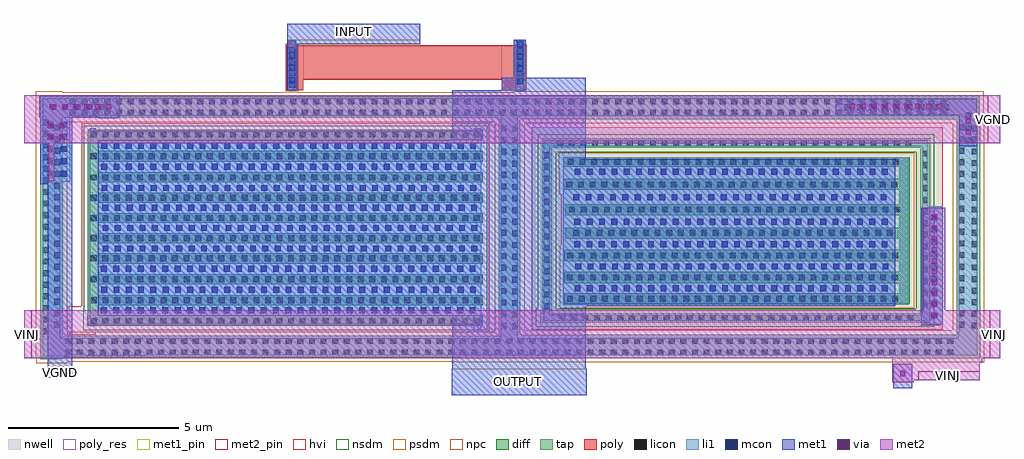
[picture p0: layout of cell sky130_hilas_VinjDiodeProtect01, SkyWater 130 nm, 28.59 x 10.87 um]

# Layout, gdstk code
import gdstk
lib = gdstk.Library(unit=1e-6, precision=1e-09)
def R(c, l, rs):  # rectangles x0, y0, x1, y1
    for r in rs: c.add(gdstk.rectangle(r[:2], r[2:], *l))
def A(c, l, x, y, w, h, nx, ny, dx, dy):  # array of equal rectangles
    R(c, l, [(x+i*dx, y+j*dy, x+i*dx+w, y+j*dy+h) for i in range(nx) for j in range(ny)])
nwell = (64, 20)
diff = (65, 20)
tap = (65, 44)
poly_res = (66, 13)
poly = (66, 20)
licon = (66, 44)
li1 = (67, 20)
mcon = (67, 44)
met1_pin = (68, 16)
met1 = (68, 20)
via = (68, 44)
met2_pin = (69, 16)
met2 = (69, 20)
hvi = (75, 20)
nsdm = (93, 44)
psdm = (94, 20)
npc = (95, 20)

sky130_hilas_vinjdiodepr = lib.new_cell('sky130_hilas_VinjDiodeProtect01')
R(sky130_hilas_vinjdiodepr, nwell, [(7.42,-0.38,19.47,5.56)])
A(sky130_hilas_vinjdiodepr, diff, -5.58, 0.34, 11.57, 0.3, 1, 3, 0, 0.61)
A(sky130_hilas_vinjdiodepr, diff, -5.58, 1.86, 0.31, 0.3, 1, 3, 0, 0.59)
R(sky130_hilas_vinjdiodepr, diff, [(-5.59,-0.26,5.99,0.04), (-5.58,0.04,-5.27,0.34), (8.37,0.38,18.5,0.69), (-5.58,0.64,-5.27,0.95), (18.19,0.69,18.5,0.99), (8.37,0.99,18.5,1.32), (-5.58,1.25,-5.27,1.56), (18.19,1.32,18.5,1.63), (5.68,1.55,5.99,1.56), (8.37,1.63,18.5,1.96), (18.19,1.96,18.5,2.29), (-5.58,2.16,5.99,2.45), (8.41,2.29,18.5,2.61), (18.19,2.61,18.5,2.98), (-5.58,2.75,5.99,3.04), (8.41,2.98,18.5,3.3), (18.19,3.3,18.5,3.72), (-5.58,3.34,5.99,3.64), (-5.58,3.64,-5.27,3.94), (8.36,3.72,18.5,4.04), (-5.58,3.94,5.99,4.24), (18.19,4.04,18.5,4.39), (-5.58,4.24,-5.27,4.55), (8.34,4.39,18.5,4.68), (-5.58,4.55,5.99,4.86), (-5.58,4.86,-5.27,5.17), (-5.58,5.17,5.99,5.48)])
R(sky130_hilas_vinjdiodepr, tap, [(-6.97,-1.24,-6.46,-1.23), (-6.97,-1.23,-6.31,-1.19), (5.35,-1.21,20.56,-1.19), (-6.97,-1.19,20.56,-1.07), (-6.98,-1.07,20.56,-0.56), (-6.98,-0.56,-6.31,5.83), (6.46,-0.56,20.56,-0.52), (6.46,-0.52,7.09,5.79), (19.88,-0.52,20.56,5.79), (7.67,-0.17,19.09,0.11), (7.73,0.11,8.01,4.95), (18.81,0.11,19.09,4.95), (7.73,4.95,19.09,5.23), (6.46,5.79,20.56,5.83), (-6.98,5.83,20.54,6.46), (-6.98,6.46,-6.46,6.48), (7.02,6.46,20.54,6.48), (-6.98,6.48,-6.64,6.49)])
R(sky130_hilas_vinjdiodepr, poly_res, [(0.73,6.94,6.54,7.96)])
R(sky130_hilas_vinjdiodepr, poly, [(0.23,6.64,0.73,6.94), (6.54,6.64,7.26,6.94), (0.23,6.94,7.26,7.96), (0.32,7.96,0.49,8.07), (7,7.96,7.17,8.07)])
A(sky130_hilas_vinjdiodepr, licon, -6.24, -1.13, 0.17, 0.17, 77, 2, 0.34, 0.34)
A(sky130_hilas_vinjdiodepr, licon, -6.9, -0.505, 0.17, 0.17, 1, 19, 0, 0.34)
A(sky130_hilas_vinjdiodepr, licon, 6.85, -0.36, 0.17, 0.17, 1, 18, 0, 0.34)
A(sky130_hilas_vinjdiodepr, licon, 6.51, -0.345, 0.17, 0.17, 1, 18, 0, 0.34)
A(sky130_hilas_vinjdiodepr, licon, 20.31, -0.34, 0.17, 0.17, 1, 18, 0, 0.34)
A(sky130_hilas_vinjdiodepr, licon, -6.56, -0.32, 0.17, 0.17, 1, 18, 0, 0.34)
A(sky130_hilas_vinjdiodepr, licon, 19.93, -0.315, 0.17, 0.17, 1, 18, 0, 0.34)
A(sky130_hilas_vinjdiodepr, licon, -5.495, -0.21, 0.17, 0.17, 34, 2, 0.34, 1.84)
A(sky130_hilas_vinjdiodepr, licon, 8.23, -0.11, 0.17, 0.17, 31, 1, 0.34, 0)
A(sky130_hilas_vinjdiodepr, licon, 7.78, 0.23, 0.17, 0.17, 1, 14, 0, 0.34)
A(sky130_hilas_vinjdiodepr, licon, 18.86, 0.28, 0.17, 0.17, 1, 14, 0, 0.34)
A(sky130_hilas_vinjdiodepr, licon, -5.485, 0.4, 0.17, 0.17, 34, 1, 0.34, 0)
A(sky130_hilas_vinjdiodepr, licon, 8.46, 0.45, 0.17, 0.17, 29, 1, 0.34, 0)
A(sky130_hilas_vinjdiodepr, licon, -5.49, 1.02, 0.17, 0.17, 34, 2, 0.34, 1.2)
A(sky130_hilas_vinjdiodepr, licon, 8.45, 1.07, 0.17, 0.17, 29, 1, 0.34, 0)
A(sky130_hilas_vinjdiodepr, licon, 8.465, 1.71, 0.17, 0.17, 29, 1, 0.34, 0)
A(sky130_hilas_vinjdiodepr, licon, 8.645, 2.38, 0.17, 0.17, 28, 1, 0.34, 0)
A(sky130_hilas_vinjdiodepr, licon, -5.49, 2.81, 0.17, 0.17, 34, 2, 0.34, 0.59)
A(sky130_hilas_vinjdiodepr, licon, 8.52, 3.06, 0.17, 0.17, 29, 1, 0.34, 0)
A(sky130_hilas_vinjdiodepr, licon, 8.44, 3.79, 0.17, 0.17, 29, 1, 0.34, 0)
A(sky130_hilas_vinjdiodepr, licon, -5.495, 4, 0.17, 0.17, 34, 1, 0.34, 0)
A(sky130_hilas_vinjdiodepr, licon, 8.485, 4.46, 0.17, 0.17, 29, 1, 0.34, 0)
A(sky130_hilas_vinjdiodepr, licon, -5.49, 4.62, 0.17, 0.17, 34, 2, 0.34, 0.64)
A(sky130_hilas_vinjdiodepr, licon, 8.17, 5, 0.17, 0.17, 31, 1, 0.34, 0)
A(sky130_hilas_vinjdiodepr, licon, -6.11, 5.89, 0.17, 0.17, 76, 2, 0.34, 0.34)
A(sky130_hilas_vinjdiodepr, licon, 0.32, 6.71, 0.17, 0.17, 1, 4, 0, 0.34)
A(sky130_hilas_vinjdiodepr, licon, 7, 7.03, 0.17, 0.17, 1, 3, 0, 0.34)
R(sky130_hilas_vinjdiodepr, li1, [(-6.87,-1.15,-6.18,-1.13), (-5.67,-1.14,-3.87,-1.13), (-6.87,-1.13,20.48,-0.96), (-6.9,-0.96,20.48,-0.62), (-6.9,-0.62,-6.39,3.96), (-5.65,-0.62,-3.85,-0.61), (6.51,-0.62,7.02,5.89), (19.92,-0.62,20.48,-0.46), (19.93,-0.46,20.48,5.89), (5.72,-0.45,5.95,-0.21), (-5.53,-0.27,-5.34,-0.21), (18.93,-0.22,19.47,-0.11), (-5.6,-0.21,5.95,-0.04), (7.77,-0.11,19.47,0.06), (-5.53,-0.04,5.95,5.43), (7.77,0.06,7.95,0.13), (18.86,0.06,19.47,3.24), (7.78,0.13,7.95,5), (8.34,0.36,18.45,0.44), (8.34,0.44,18.47,4.67), (18.86,3.24,19.03,5), (-6.9,3.96,-6.1,5.89), (8.34,4.67,18.45,4.68), (7.78,5,19.03,5.17), (-5.52,5.43,5.95,5.44), (-5.52,5.44,-5.35,5.52), (5.72,5.44,5.95,5.53), (-6.9,5.89,20.48,6.4), (6.96,6.61,7.21,8.09), (0.32,6.63,0.49,6.64), (0.28,6.64,0.53,8.1)])
A(sky130_hilas_vinjdiodepr, mcon, 19.13, -0.045, 0.17, 0.17, 1, 9, 0, 0.36)
A(sky130_hilas_vinjdiodepr, mcon, -5.195, 0.11, 0.17, 0.17, 31, 2, 0.36, 1.21)
A(sky130_hilas_vinjdiodepr, mcon, -5.185, 0.71, 0.17, 0.17, 31, 2, 0.36, 3.6)
A(sky130_hilas_vinjdiodepr, mcon, 8.68, 0.75, 0.17, 0.17, 26, 2, 0.36, 3.42)
A(sky130_hilas_vinjdiodepr, mcon, 8.7, 1.39, 0.17, 0.17, 26, 1, 0.36, 0)
A(sky130_hilas_vinjdiodepr, mcon, -5.145, 1.92, 0.17, 0.17, 31, 2, 0.36, 0.6)
A(sky130_hilas_vinjdiodepr, mcon, 8.67, 2.04, 0.17, 0.17, 26, 1, 0.36, 0)
A(sky130_hilas_vinjdiodepr, mcon, 8.675, 2.7, 0.17, 0.17, 26, 1, 0.36, 0)
A(sky130_hilas_vinjdiodepr, mcon, -5.155, 3.11, 0.17, 0.17, 31, 1, 0.36, 0)
A(sky130_hilas_vinjdiodepr, mcon, 8.64, 3.42, 0.17, 0.17, 26, 1, 0.36, 0)
A(sky130_hilas_vinjdiodepr, mcon, -5.175, 3.69, 0.17, 0.17, 31, 1, 0.36, 0)
A(sky130_hilas_vinjdiodepr, mcon, -6.375, 4.11, 0.17, 0.17, 1, 5, 0, 0.36)
A(sky130_hilas_vinjdiodepr, mcon, -6.775, 4.115, 0.17, 0.17, 1, 5, 0, 0.36)
A(sky130_hilas_vinjdiodepr, mcon, -5.185, 4.93, 0.17, 0.17, 31, 1, 0.36, 0)
A(sky130_hilas_vinjdiodepr, mcon, 20.125, 5.09, 0.17, 0.17, 1, 3, 0, 0.36)
A(sky130_hilas_vinjdiodepr, mcon, 16.595, 6.055, 0.17, 0.17, 9, 1, 0.36, 0)
A(sky130_hilas_vinjdiodepr, mcon, -6.695, 6.065, 0.17, 0.17, 5, 1, 0.36, 0)
A(sky130_hilas_vinjdiodepr, mcon, 7, 6.82, 0.17, 0.17, 1, 4, 0, 0.36)
R(sky130_hilas_vinjdiodepr, mcon, [(0.32,6.85,0.49,7.02), (0.32,7.22,0.49,7.39), (0.32,7.58,0.49,7.75)])
R(sky130_hilas_vinjdiodepr, met1_pin, [(5.08,-2.29,9.03,-1.52), (-6.75,-1.79,-6.03,-1.45), (0.26,8.11,4.15,8.58)])
R(sky130_hilas_vinjdiodepr, met1, [(5.08,-2.29,9.03,-1.52), (18.02,-2.09,18.57,-1.87), (18.01,-1.87,18.57,-1.37), (-6.75,-1.79,-6.03,3.88), (5.1,-1.52,9.01,0.03), (18.84,-0.24,19.41,-0.23), (18.84,-0.23,19.46,3.19), (-5.28,0.03,9.01,0.31), (-5.28,0.31,18.07,4.61), (18.84,3.19,19.41,3.2), (-6.98,3.88,-6.03,5.84), (-5.28,4.61,9.01,5.17), (19.94,5,20.47,5.9), (-4.61,5.17,9.01,5.18), (5.1,5.18,9.01,6.64), (-5.28,5.82,-4.7,5.84), (-7.01,5.84,-4.64,6.47), (16.33,5.9,20.47,5.99), (16.33,5.99,20.46,6.39), (0.26,6.64,0.55,7.99), (6.54,6.64,9.01,7.01), (6.89,7.01,7.26,7.96), (6.9,7.96,7.25,8.12), (0.26,7.99,4.16,8.58)])
A(sky130_hilas_vinjdiodepr, via, 19.135, -0.03, 0.15, 0.15, 1, 10, 0, 0.32)
A(sky130_hilas_vinjdiodepr, via, -6.65, 6.08, 0.15, 0.15, 6, 1, 0.32, 0)
A(sky130_hilas_vinjdiodepr, via, 16.74, 6.09, 0.15, 0.15, 9, 1, 0.32, 0)
R(sky130_hilas_vinjdiodepr, via, [(18.215,-1.735,18.365,-1.585), (-6.735,5.205,-6.585,5.355), (-6.415,5.205,-6.265,5.355), (20.13,5.335,20.28,5.485), (-6.735,5.525,-6.585,5.675), (-6.415,5.525,-6.265,5.675), (20.13,5.655,20.28,5.805)])
R(sky130_hilas_vinjdiodepr, met2_pin, [(18.75,-1.85,20.54,-1.6), (-7.44,-1.21,-7.23,0.19), (20.84,-1.21,21.14,0.19), (20.78,5.09,21.14,6.49)])
R(sky130_hilas_vinjdiodepr, met2, [(17.99,-1.92,18.61,-1.85), (17.99,-1.85,20.54,-1.34), (17.99,-1.34,20.62,-1.21), (-7.45,-1.21,21.14,0.19), (18.89,0.19,19.53,3.2), (-6.73,3.97,-6.56,5.08), (-6.98,5.08,-6.05,5.09), (-7.45,5.09,21.14,6.49)])
R(sky130_hilas_vinjdiodepr, hvi, [(-6.19,-0.53,-5.35,-0.445), (-6.19,-0.445,6.175,0.31), (7.42,-0.38,19.47,5.56), (-5.765,0.31,6.175,5.665)])
R(sky130_hilas_vinjdiodepr, nsdm, [(-5.715,-0.385,6.115,0.165), (7.545,-0.295,19.215,0.235), (-5.705,0.165,6.115,5.605), (7.605,0.235,8.135,4.825), (18.685,0.235,19.215,4.825), (7.605,4.825,19.215,5.355)])
R(sky130_hilas_vinjdiodepr, psdm, [(-7.095,-1.365,-6.335,-1.355), (-7.095,-1.355,-6.185,-1.315), (5.225,-1.335,20.685,-1.315), (-7.095,-1.315,20.685,-1.195), (-7.105,-1.195,20.685,-0.435), (-7.105,-0.435,-6.185,5.705), (6.335,-0.435,20.685,-0.395), (6.335,-0.395,7.215,5.665), (19.755,-0.395,20.685,5.665), (8.245,0.255,18.625,2.085), (8.285,2.085,18.625,3.595), (8.235,3.595,18.625,4.265), (8.215,4.265,18.625,4.805), (6.335,5.665,20.685,5.705), (-7.105,5.705,20.685,5.955), (-7.105,5.955,20.665,6.585), (-7.105,6.585,-6.335,6.605), (6.895,6.585,20.665,6.605), (-7.105,6.605,-6.515,6.615)])
R(sky130_hilas_vinjdiodepr, npc, [(0.22,6.61,0.59,8), (6.9,6.93,7.27,7.98)])
sky130_hilas_vinjdiodepr.add(gdstk.Label('OUTPUT ', (7.055,-1.905), layer=68, texttype=16))
sky130_hilas_vinjdiodepr.add(gdstk.Label('VGND', (20.96,5.79), layer=69, texttype=16))
sky130_hilas_vinjdiodepr.add(gdstk.Label('VGND', (-6.39,-1.62), layer=68, texttype=16))
sky130_hilas_vinjdiodepr.add(gdstk.Label('VINJ', (-7.335,-0.51), layer=69, texttype=16))
sky130_hilas_vinjdiodepr.add(gdstk.Label('VINJ', (20.99,-0.51), layer=69, texttype=16))
sky130_hilas_vinjdiodepr.add(gdstk.Label('VINJ', (19.645,-1.725), layer=69, texttype=16))
sky130_hilas_vinjdiodepr.add(gdstk.Label('INPUT', (2.205,8.345), layer=68, texttype=16))

lib.write_gds('sky130_hilas_VinjDiodeProtect01.gds')
